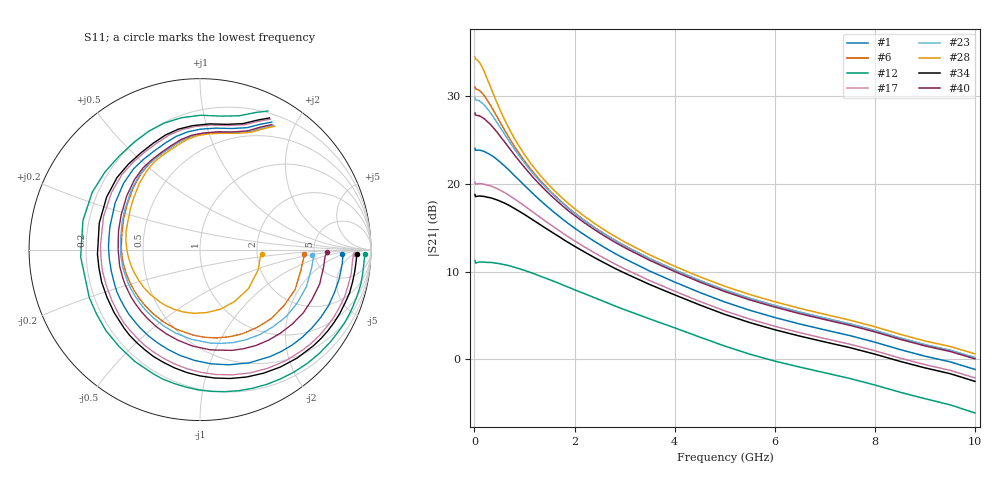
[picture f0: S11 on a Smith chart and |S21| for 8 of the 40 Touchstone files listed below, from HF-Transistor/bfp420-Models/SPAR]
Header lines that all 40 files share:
! Infineon Technologies  Discrete & RF Semiconductors
! BFP420
! Common Emitter S-Parameters:  Nov 2009
# GHz  S  MA  R  50
!  f  S11  S21  S12  S22
! GHz  MAG  ANG  MAG  ANG  MAG  ANG  MAG  ANG
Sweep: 10 MHz to 10 GHz
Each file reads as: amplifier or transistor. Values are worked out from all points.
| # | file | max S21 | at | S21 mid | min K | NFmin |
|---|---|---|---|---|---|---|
| 1 | 2p2V55M0.s2p | 24.0 dB | 10 MHz | 16.2 dB at 1.7 GHz | 0.06 | 0.66 dB |
| 2 | 2p2V56M0.s2p | 25.3 dB | 10 MHz | 16.7 dB at 1.7 GHz | 0.07 | 0.70 dB |
| 3 | 2p2V58M0.s2p | 27.3 dB | 10 MHz | 17.3 dB at 1.7 GHz | 0.07 | 0.79 dB |
| 4 | 2p2V59M0.s2p | 28.1 dB | 10 MHz | 17.5 dB at 1.7 GHz | 0.09 | - |
| 5 | 2p2V512M.s2p | 29.8 dB | 10 MHz | 17.9 dB at 1.7 GHz | 0.11 | 0.95 dB |
| 6 | 2p2V515M.s2p | 31.0 dB | 10 MHz | 18.2 dB at 1.7 GHz | 0.15 | 1.06 dB |
| 7 | 2p2V520M.s2p | 32.4 dB | 10 MHz | 18.4 dB at 1.7 GHz | 0.18 | 1.23 dB |
| 8 | 2p2V525M.s2p | 33.4 dB | 10 MHz | 18.5 dB at 1.7 GHz | 0.21 | 1.38 dB |
| 9 | 2p2V530M.s2p | 34.0 dB | 10 MHz | 18.5 dB at 1.7 GHz | 0.23 | 1.51 dB |
| 10 | 2p2V535M.s2p | 34.4 dB | 10 MHz | 18.5 dB at 1.7 GHz | 0.26 | 1.64 dB |
| 11 | 2p3V00M5.s2p | 6.0 dB | 10 MHz | 4.2 dB at 1.7 GHz | -0.15 | 0.68 dB |
| 12 | 2p3V01M0.s2p | 11.3 dB | 10 MHz | 8.6 dB at 1.7 GHz | -0.01 | 0.53 dB |
| 13 | 2p3V01M2.s2p | 12.8 dB | 10 MHz | 9.8 dB at 1.7 GHz | 0.01 | 0.53 dB |
| 14 | 2p3V01M5.s2p | 14.9 dB | 10 MHz | 11.3 dB at 1.7 GHz | 0.02 | 0.52 dB |
| 15 | 2p3V02M0.s2p | 17.1 dB | 10 MHz | 12.9 dB at 1.7 GHz | 0.02 | 0.53 dB |
| 16 | 2p3V02M5.s2p | 18.8 dB | 10 MHz | 13.8 dB at 1.7 GHz | 0.03 | 0.55 dB |
| 17 | 2p3V03M0.s2p | 20.2 dB | 10 MHz | 14.6 dB at 1.7 GHz | 0.04 | 0.57 dB |
| 18 | 2p3V04M0.s2p | 22.4 dB | 10 MHz | 15.7 dB at 1.7 GHz | 0.05 | 0.61 dB |
| 19 | 2p3V05M0.s2p | 24.0 dB | 10 MHz | 16.4 dB at 1.7 GHz | 0.07 | 0.66 dB |
| 20 | 2p3V06M0.s2p | 25.4 dB | 10 MHz | 16.9 dB at 1.7 GHz | 0.08 | 0.70 dB |
| 21 | 2p3V08M0.s2p | 27.3 dB | 10 MHz | 17.5 dB at 1.7 GHz | 0.11 | 0.79 dB |
| 22 | 2p3V09M0.s2p | 28.1 dB | 10 MHz | 17.7 dB at 1.7 GHz | 0.11 | - |
| 23 | 2p3V012M.s2p | 29.8 dB | 10 MHz | 18.1 dB at 1.7 GHz | 0.14 | 0.95 dB |
| 24 | 2p3V015M.s2p | 31.0 dB | 10 MHz | 18.3 dB at 1.7 GHz | 0.16 | 1.06 dB |
| 25 | 2p3V020M.s2p | 32.4 dB | 10 MHz | 18.5 dB at 1.7 GHz | 0.20 | 1.23 dB |
| 26 | 2p3V025M.s2p | 33.3 dB | 10 MHz | 18.6 dB at 1.7 GHz | 0.22 | 1.38 dB |
| 27 | 2p3V030M.s2p | 34.0 dB | 10 MHz | 18.7 dB at 1.7 GHz | 0.25 | 1.51 dB |
| 28 | 2p3V035M.s2p | 34.4 dB | 10 MHz | 18.7 dB at 1.7 GHz | 0.26 | 1.64 dB |
| 29 | 2p3V50M5.s2p | 5.6 dB | 10 MHz | 4.0 dB at 1.7 GHz | 0.01 | 0.68 dB |
| 30 | 2p3V51M0.s2p | 11.6 dB | 10 MHz | 9.0 dB at 1.7 GHz | -0.29 | 0.53 dB |
| 31 | 2p3V51M2.s2p | 13.1 dB | 10 MHz | 10.1 dB at 1.7 GHz | -0.04 | 0.53 dB |
| 32 | 2p3V51M5.s2p | 14.9 dB | 10 MHz | 11.4 dB at 1.7 GHz | 0.03 | 0.52 dB |
| 33 | 2p3V52M0.s2p | 17.0 dB | 10 MHz | 12.9 dB at 1.7 GHz | 0.04 | 0.53 dB |
| 34 | 2p3V52M5.s2p | 18.8 dB | 10 MHz | 13.9 dB at 1.7 GHz | 0.05 | 0.55 dB |
| 35 | 2p3V53M0.s2p | 20.3 dB | 10 MHz | 14.8 dB at 1.7 GHz | 0.06 | 0.57 dB |
| 36 | 2p3V54M0.s2p | 22.4 dB | 10 MHz | 15.8 dB at 1.7 GHz | 0.08 | 0.61 dB |
| 37 | 2p3V55M0.s2p | 24.1 dB | 10 MHz | 16.5 dB at 1.7 GHz | 0.09 | 0.66 dB |
| 38 | 2p3V56M0.s2p | 25.4 dB | 10 MHz | 17.0 dB at 1.7 GHz | 0.11 | 0.70 dB |
| 39 | 2p3V58M0.s2p | 27.3 dB | 10 MHz | 17.6 dB at 1.7 GHz | 0.14 | 0.79 dB |
| 40 | 2p3V59M0.s2p | 28.1 dB | 10 MHz | 17.8 dB at 1.7 GHz | 0.15 | - |

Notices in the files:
Praktikum_HF-Schaltungstechnik/HF-Transistor/bfp420-Models/SPAR/2p2V512M.s2p:
(c) 2009  Infineon Technologies AG, Munich
